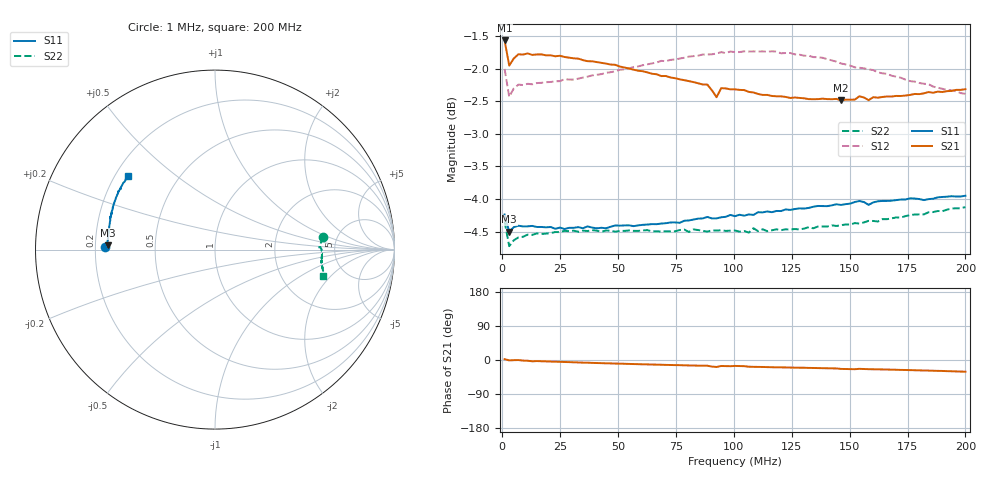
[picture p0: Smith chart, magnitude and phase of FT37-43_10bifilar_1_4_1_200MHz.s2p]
! Created with skrf 2.1.0 (http://scikit-rf.org).
# Hz S RI R 50.0
!freq ReS11 ImS11 ReS21 ImS21 ReS12 ImS12 ReS22 ImS22
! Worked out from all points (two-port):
!   101 points, 1 MHz to 200 MHz, reference 50 ohm
!   highest |S21| = -1.57 dB at 1 MHz (marker M1); lowest = -2.5 dB at 146.3 MHz (marker M2)
!   |S21| within 3 dB of the highest: start of sweep to end of sweep
!   lowest |S11| = -4.5 dB at 2.99 MHz (marker M3), VSWR 3.95, Z = 12.7 + j0.911 ohm
!   |S11| at or under -10 dB: nowhere
!   |S22| runs from -4.7 to -4.1 dB; largest |S21 - S12| = 0.093
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1000000  -0.6138 0.0164  0.8341 0.032  0.7932 0.0302  0.6022 0.0716
2990000  -0.5952 0.0232  0.7984 -0.0136  0.7557 -0.00616  0.5806 0.0118
6970000  -0.6017 0.0207  0.8146 -0.00158  0.7721 0.00749  0.5897 0.01
1.294e7  -0.601 0.0318  0.8122 -0.0486  0.7719 -0.0307  0.5924 0.00187
1.493e7  -0.5995 0.0374  0.8134 -0.0406  0.774 -0.0193  0.5939 0.000267
3.483e7  -0.5942 0.0782  0.8004 -0.0969  0.7802 -0.0506  0.5967 -0.0153
6.866e7  -0.5865 0.146  0.765 -0.1707  0.7959 -0.1218  0.5947 -0.0371
8.458e7  -0.5822 0.1808  0.748 -0.1987  0.7958 -0.1648  0.5955 -0.0489
8.856e7  -0.5853 0.1769  0.7456 -0.2009  0.7952 -0.1753  0.5937 -0.0503
9.254e7  -0.5747 0.2041  0.7165 -0.2386  0.7941 -0.1867  0.5947 -0.0513
9.453e7  -0.5777 0.1991  0.7382 -0.2096  0.7946 -0.1929  0.5949 -0.0533
1.005e8  -0.5742 0.2126  0.7374 -0.2063  0.7904 -0.2094  0.5943 -0.0563
1.0647e8  -0.5703 0.2281  0.726 -0.2323  0.7867 -0.226  0.5905 -0.071
1.0846e8  -0.5678 0.2326  0.724 -0.2359  0.7894 -0.2171  0.5964 -0.0601
1.1045e8  -0.5701 0.2347  0.7214 -0.2376  0.7827 -0.2392  0.5931 -0.062
1.3433e8  -0.5527 0.2865  0.7023 -0.2703  0.7509 -0.3051  0.5942 -0.0782
1.4428e8  -0.5446 0.3072  0.6969 -0.2851  0.7339 -0.3285  0.5956 -0.0862
1.4627e8  -0.5418 0.3107  0.6885 -0.3  0.7232 -0.3454  0.5962 -0.0873
1.5423e8  -0.5401 0.3221  0.6948 -0.299  0.7132 -0.3523  0.5972 -0.0926
1.5821e8  -0.5241 0.3398  0.685 -0.3085  0.7098 -0.354  0.5987 -0.1013
1.6816e8  -0.5201 0.3541  0.6827 -0.3251  0.689 -0.3748  0.6001 -0.1087
2e8  -0.4837 0.4109  0.6579 -0.3922  0.6347 -0.4175  0.6038 -0.1499
